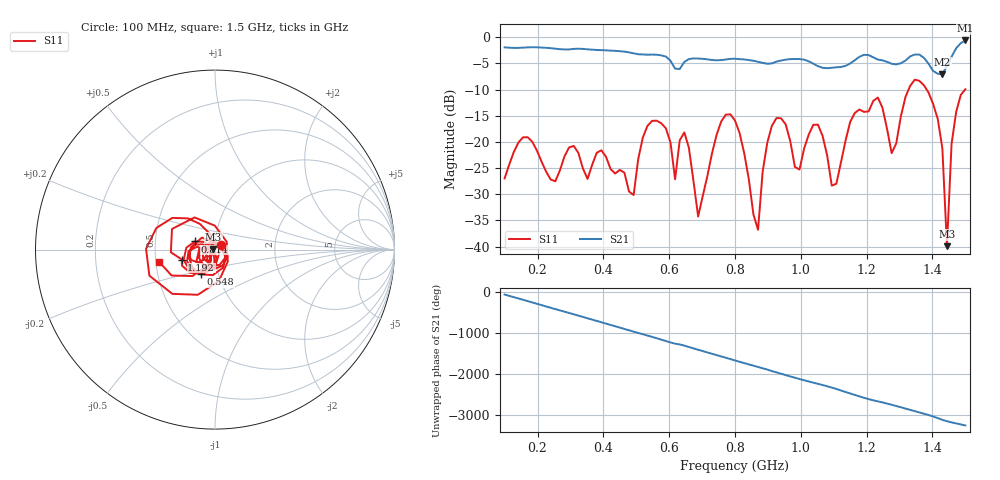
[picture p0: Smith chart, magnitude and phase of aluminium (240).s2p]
! NanoVNA-App
! Date: 2025-09-25 14:57:09
! Start: 100MHz Stop: 1,5GHz Points: 101
! S-Parameter data: F S11 S21 S12 S22
# Hz S RI R 50
!  Frequency  S11_Real  S11_Imag  S21_Real  S21_Imag  S12_Real  S12_Imag  S22_Real  S22_Imag
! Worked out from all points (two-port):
!   101 points, 100 MHz to 1.5 GHz, reference 50 ohm
!   highest |S21| = -0.60 dB at 1.5 GHz (marker M1); lowest = -7.0 dB at 1.43 GHz (marker M2)
!   |S21| within 3 dB of the highest: start of sweep to 585.4 MHz; 1.459 GHz to end of sweep (the widest 2 of 4)
!   lowest |S11| = -39.9 dB at 1.444 GHz (marker M3), VSWR 1.02, Z = 49 + j0.214 ohm
!   |S11| at or under -10 dB: start of sweep to 1.327 GHz; 1.382 GHz to 1.499 GHz (116.7 MHz wide, 8.1 % of centre)
!   S12 and S22 are empty: the file has one direction only
!   S11 on the Smith chart (normalised r, x): 100 MHz: 1.07, +0.06; 548 MHz: 0.82, -0.23; 814 MHz: 0.79, +0.07; 1.192 GHz: 0.68, -0.08; 1.5 GHz: 0.52, -0.08
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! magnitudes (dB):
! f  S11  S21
! 100 MHz  -27.0  -1.9
! 338 MHz  -25.1  -2.2
! 492 MHz  -30.1  -3.1
! 548 MHz  -16.0  -3.3
! 576 MHz  -16.4  -3.5
! 618 MHz  -27.1  -6.0
! 646 MHz  -18.2  -4.7
! 688 MHz  -34.2  -4.1
! 800 MHz  -15.9  -4.1
! 814 MHz  -18.3  -4.2
! 870 MHz  -36.8  -4.7
! 912 MHz  -16.9  -5.0
! 996 MHz  -25.3  -4.2
! 1.038 GHz  -16.7  -5.0
! 1.094 GHz  -28.3  -5.8
! 1.192 GHz  -14.3  -3.3
! 1.276 GHz  -22.1  -5.1
! 1.346 GHz  -8.1  -3.3
! 1.43 GHz  -21.2  -7.0
! 1.444 GHz  -39.9  -5.5
! 1.458 GHz  -20.4  -3.7
! 1.5 GHz  -9.9  -0.6
